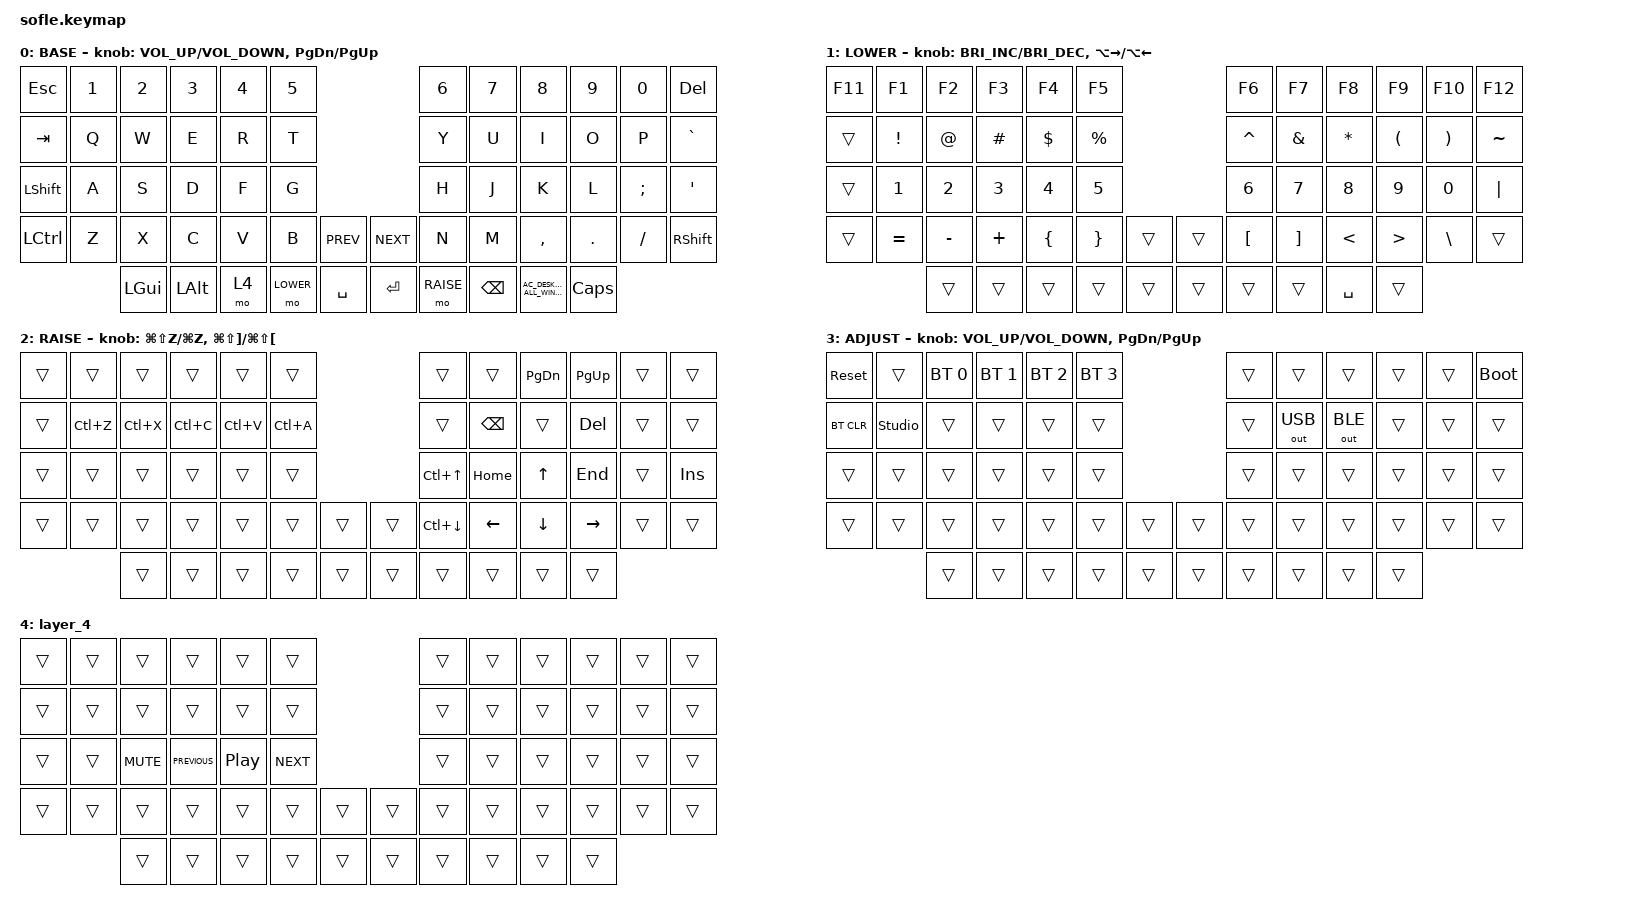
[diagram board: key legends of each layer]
/*
 * Copyright (c) 2020 The ZMK Contributors
 *
 * SPDX-License-Identifier: MIT
 */

#include <behaviors.dtsi>
#include <dt-bindings/zmk/bt.h>
#include <dt-bindings/zmk/keys.h>
#include <dt-bindings/zmk/outputs.h>

#define BASE   0
#define LOWER  1
#define RAISE  2
#define ADJUST 3

/ {
    conditional_layers {
        compatible = "zmk,conditional-layers";

        adjust_layer {
            if-layers = <LOWER RAISE>;
            then-layer = <ADJUST>;
        };
    };

    keymap {
        compatible = "zmk,keymap";

        default_layer {
            label = "BASE";

            // ------------------------------------------------------------------------------------------------------------
            // |  ESC  |  1  |  2  |  3   |  4   |  5    |                   |  6    |  7    |  8    |  9   |   0   |  DEL  |
            // |  TAB  |  Q  |  W  |  E   |  R   |  T    |                   |  Y    |  U    |  I    |  O   |   P   |   `   |
            // |  CTRL |  A  |  S  |  D   |  F   |  G    |                   |  H    |  J    |  K    |  L   |   ;   |   '   |
            // | SHIFT |  Z  |  X  |  C   |  V   |  B    |  PREV  |  | NEXT  |  N    |  M    |  ,    |  .   |   /   | SHIFT |
            //               | GUI | ALT  | CTRL | LOWER |  SPACE |  | ENTER | RAISE | ALT   | BSPC  | GUI  |

            bindings = <
&kp ESC           &kp N1  &kp N2    &kp N3    &kp N4  &kp N5                               &kp N6     &kp N7         &kp N8                             &kp N9    &kp N0    &kp DEL
&kp TAB           &kp Q   &kp W     &kp E     &kp R   &kp T                                &kp Y      &kp U          &kp I                              &kp O     &kp P     &kp GRAVE
&kp LEFT_SHIFT    &kp A   &kp S     &kp D     &kp F   &kp G                                &kp H      &kp J          &kp K                              &kp L     &kp SEMI  &kp SQT
&kp LEFT_CONTROL  &kp Z   &kp X     &kp C     &kp V   &kp B      &kp C_PREV    &kp C_NEXT  &kp N      &kp M          &kp COMMA                          &kp DOT   &kp FSLH  &kp RIGHT_SHIFT
                          &kp LGUI  &kp LALT  &mo 4   &mo LOWER  &kp SPACE     &kp ENTER   &mo RAISE  &kp BACKSPACE  &kp C_AC_DESKTOP_SHOW_ALL_WINDOWS  &kp CAPS
            >;

            sensor-bindings =
                <&inc_dec_kp C_VOLUME_UP C_VOLUME_DOWN>,
                <&inc_dec_kp PAGE_DOWN PAGE_UP>;
        };

        lower_layer {
            label = "LOWER";

            // ------------------------------------------------------------------------------------------------------------
            // |  F11  | F1  | F2  | F3  | F4  | F5  |                   | F6  | F7  | F8  | F9  | F10 |  F12  |
            // |       |  !  |  @  |  #  |  $  |  %  |                   |  ^  |  &  |  *  |  (  |  )  |   ~   |
            // |       |  1  |  2  |  3  |  4  |  5  |                   |  6  |  7  |  8  |  9  |  0  |   |   |
            // |       |  =  |  -  |  +  |  {  |  }  |     |  |          |  [  |  ]  |  <  |  >  |  \  |       |
            //               |     |     |     |     |     |  |          |     |     |     |     |

            bindings = <
&kp F11  &kp F1     &kp F2     &kp F3    &kp F4    &kp F5                       &kp F6     &kp F7    &kp F8     &kp F9    &kp F10   &kp F12
&trans   &kp EXCL   &kp AT     &kp HASH  &kp DLLR  &kp PRCNT                    &kp CARET  &kp AMPS  &kp ASTRK  &kp LPAR  &kp RPAR  &kp TILDE
&trans   &kp N1     &kp N2     &kp N3    &kp N4    &kp N5                       &kp N6     &kp N7    &kp N8     &kp N9    &kp N0    &kp PIPE
&trans   &kp EQUAL  &kp MINUS  &kp PLUS  &kp LBRC  &kp RBRC   &trans    &trans  &kp LBKT   &kp RBKT  &kp LT     &kp GT    &kp BSLH  &trans
                    &trans     &trans    &trans    &trans     &trans    &trans  &trans     &trans    &kp SPACE  &trans
            >;

            sensor-bindings =
                <&inc_dec_kp C_BRIGHTNESS_INC C_BRIGHTNESS_DEC>,
                <&inc_dec_kp LA(RIGHT) LA(LEFT)>;
        };

        raise_layer {
            label = "RAISE";

            // ------------------------------------------------------------------------------------------------------------
            // |       |       |       |      |      |       |                | DEL   | HOME  | PGDN  | PGUP  | END   | DEL   |
            // |       | UNDO  | CUT   | COPY | PSTE | SEL_A |                | CAPS  |  ←    |  ↓    |  ↑    |  →    | BSPC  |
            // |       | GUI   | ALT   | CTRL | SHFT |       |                |       | WORD← | LINE← | LINE→ | WORD→ | INS   |
            // |       | APPSW | WINSW | TPRV | TNXT |       |     |  |       |       | DOCT  | DOCB  |       |       |       |
            //                 |       |      |      |       |     |  |       |       |       |       |       |

            bindings = <
&trans  &trans     &trans     &trans     &trans     &trans                       &trans              &trans          &kp PG_DN       &kp PG_UP        &trans  &trans
&trans  &kp LC(Z)  &kp LC(X)  &kp LC(C)  &kp LC(V)  &kp LC(A)                    &trans              &kp BACKSPACE   &trans          &kp DEL          &trans  &trans
&trans  &trans     &trans     &trans     &trans     &trans                       &kp LC(UP_ARROW)    &kp HOME        &kp UP_ARROW    &kp END          &trans  &kp INS
&trans  &trans     &trans     &trans     &trans     &trans     &trans    &trans  &kp LC(DOWN_ARROW)  &kp LEFT_ARROW  &kp DOWN_ARROW  &kp RIGHT_ARROW  &trans  &trans
                   &trans     &trans     &trans     &trans     &trans    &trans  &trans              &trans          &trans          &trans
            >;

            sensor-bindings =
                <&inc_dec_kp LG(LS(Z)) LG(Z)>,
                <&inc_dec_kp LG(LS(RBKT)) LG(LS(LBKT))>;
        };

        adjust_layer {
            label = "ADJUST";

            // ------------------------------------------------------------------------------------------------------------
            // | RST   | BTCLR | BT0  | BT1  | BT2  | BT3  |                  |       |       |       |       |       | BTLDR |
            // |       | STDIO |      |      |      |      |                  |       | USB   | BLE   |       |       |       |
            // |       |       |      |      |      |      |                  |       |       |       |       |       |       |
            // |       |       |      |      |      |      |     |  |         |       |       |       |       |       |       |

            bindings = <
&sys_reset  &trans          &bt BT_SEL 0  &bt BT_SEL 1  &bt BT_SEL 2  &bt BT_SEL 3                    &trans  &trans        &trans        &trans  &trans  &bootloader
&bt BT_CLR  &studio_unlock  &trans        &trans        &trans        &trans                          &trans  &out OUT_USB  &out OUT_BLE  &trans  &trans  &trans
&trans      &trans          &trans        &trans        &trans        &trans                          &trans  &trans        &trans        &trans  &trans  &trans
&trans      &trans          &trans        &trans        &trans        &trans        &trans    &trans  &trans  &trans        &trans        &trans  &trans  &trans
                            &trans        &trans        &trans        &trans        &trans    &trans  &trans  &trans        &trans        &trans
            >;

            sensor-bindings =
                <&inc_dec_kp C_VOLUME_UP C_VOLUME_DOWN>,
                <&inc_dec_kp PAGE_DOWN PAGE_UP>;
        };

        layer_4 {
            bindings = <
&trans  &trans  &trans      &trans          &trans            &trans                        &trans  &trans  &trans  &trans  &trans  &trans
&trans  &trans  &trans      &trans          &trans            &trans                        &trans  &trans  &trans  &trans  &trans  &trans
&trans  &trans  &kp C_MUTE  &kp C_PREVIOUS  &kp C_PLAY_PAUSE  &kp C_NEXT                    &trans  &trans  &trans  &trans  &trans  &trans
&trans  &trans  &trans      &trans          &trans            &trans      &trans    &trans  &trans  &trans  &trans  &trans  &trans  &trans
                &trans      &trans          &trans            &trans      &trans    &trans  &trans  &trans  &trans  &trans
            >;
        };
    };
};
